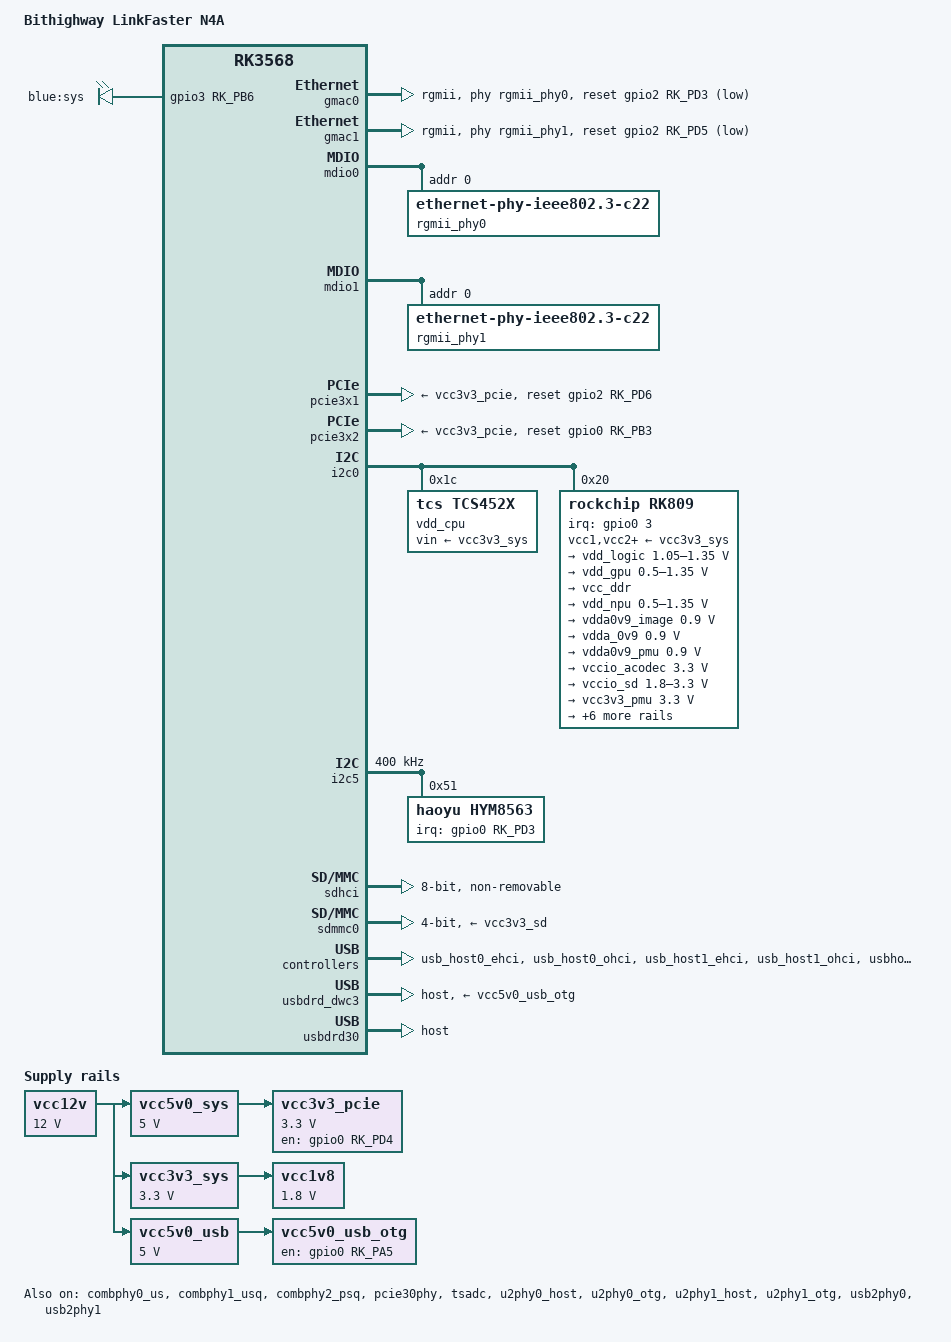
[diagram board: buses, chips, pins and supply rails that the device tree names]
// SPDX-License-Identifier: (GPL-2.0+ OR MIT)
/*
 * Copyright (c) 2023 Rockchip Electronics Co., Ltd.
 * Edit 20230723
 *
 */

/dts-v1/;

#include <dt-bindings/gpio/gpio.h>
#include <dt-bindings/input/input.h>
#include <dt-bindings/leds/common.h>
#include <dt-bindings/pinctrl/rockchip.h>
#include "rk3568.dtsi"

/ {

	model = "Bithighway LinkFaster N4A";
	compatible = "bithighway,linkfaster-n4a","rockchip,rk3568";

	mach: board {
	compatible = "rockchip,board";
	machine = "LINKFASTERN4A";
	hwrev = <1>;
	model = "LinkFaster N4A";
	nvmem-cells = <&otp_id>, <&otp_cpu_version>;
	nvmem-cell-names = "id", "cpu-version";
	};

	aliases {
		ethernet0 = &gmac0;
		ethernet1 = &gmac1;
		mmc0 = &sdhci;
		mmc1 = &sdmmc0;
		led-boot = &led_work;
		led-failsafe = &led_work;
		led-running = &led_work;
		led-upgrade = &led_work;
	};

	chosen: chosen {
		bootargs = "earlycon=uart8250,mmio32,0xfe660000 console=ttyFIQ0 root=PARTUUID=614e0000-0000 rw rootwait";
	};

	fiq-debugger {
		compatible = "rockchip,fiq-debugger";
		rockchip,serial-id = <2>;
		rockchip,wake-irq = <0>;
		/* If enable uart uses irq instead of fiq */
		rockchip,irq-mode-enable = <1>;
		rockchip,baudrate = <1500000>;  /* Only 115200 and 1500000 */
		interrupts = <GIC_SPI 252 IRQ_TYPE_LEVEL_LOW>;
		pinctrl-names = "default";
		pinctrl-0 = <&uart2m0_xfer>;
		status = "okay";
	};
	
	leds: leds {
		compatible = "gpio-leds";
		led_work: led-work {
			label = "blue:sys";
			gpios = <&gpio3 RK_PB6 GPIO_ACTIVE_HIGH>;
			linux,default-trigger = "heartbeat";
			default-state = "on";
			pinctrl-names = "default";
			pinctrl-0 = <&led_work_en>;
		};
	};

	vcc12v: vcc-12v {
		compatible = "regulator-fixed";
		regulator-name = "vcc12v";
		regulator-always-on;
		regulator-boot-on;
		regulator-min-microvolt = <12000000>;
		regulator-max-microvolt = <12000000>;
	};

	vcc5v0_sys: vcc5v0-sys {
		compatible = "regulator-fixed";
		regulator-name = "vcc5v0_sys";
		regulator-always-on;
		regulator-boot-on;
		regulator-min-microvolt = <5000000>;
		regulator-max-microvolt = <5000000>;
		vin-supply = <&vcc12v>;
	};

	vcc3v3_sys: vcc3v3-sys {
		compatible = "regulator-fixed";
		regulator-name = "vcc3v3_sys";
		regulator-always-on;
		regulator-boot-on;
		regulator-min-microvolt = <3300000>;
		regulator-max-microvolt = <3300000>;
		vin-supply = <&vcc12v>;
	};
	
	vcc1v8: vcc-1v8 {
		compatible = "regulator-fixed";
		regulator-name = "vcc1v8";
		regulator-always-on;
		regulator-boot-on;
		regulator-min-microvolt = <1800000>;
		regulator-max-microvolt = <1800000>;
		vin-supply = <&vcc3v3_sys>;
	};

	vcc3v3_pcie: gpio-regulator {
		compatible = "regulator-fixed";
		regulator-name = "vcc3v3_pcie";
		regulator-min-microvolt = <3300000>;
		regulator-max-microvolt = <3300000>;
		enable-active-high;
		gpio = <&gpio0 RK_PD4 GPIO_ACTIVE_HIGH>;
		startup-delay-us = <50000>;
		vin-supply = <&vcc5v0_sys>;
	};
	
	vcc5v0_usb: vcc5v0-usb {
		compatible = "regulator-fixed";
		regulator-name = "vcc5v0_usb";
		regulator-always-on;
		regulator-boot-on;
		regulator-min-microvolt = <5000000>;
		regulator-max-microvolt = <5000000>;
		vin-supply = <&vcc12v>;
	};
	
	vcc5v0_usb_otg: vcc5v0-usb-otg {
		compatible = "regulator-fixed";
		enable-active-high;
		gpio = <&gpio0 RK_PA5 GPIO_ACTIVE_HIGH>;
		vin-supply = <&vcc5v0_usb>;
		pinctrl-names = "default";
		pinctrl-0 = <&vcc5v0_usb_otg_en>;
		regulator-always-on;
		regulator-boot-on;
		regulator-name = "vcc5v0_usb_otg";
	};
};

&combphy0_us {
	status = "okay";
};

&combphy1_usq {
	status = "okay";
};

&combphy2_psq {
	status = "okay";
};

&cpu0 {
	cpu-supply = <&vdd_cpu>;
};

&cpu1 {
	cpu-supply = <&vdd_cpu>;
};

&cpu2 {
	cpu-supply = <&vdd_cpu>;
};

&cpu3 {
	cpu-supply = <&vdd_cpu>;
};

/* GMAC0: ethernet@fe010000 */
&gmac0 {
	phy-mode = "rgmii";
	clock_in_out = "input";

	snps,reset-gpio = <&gpio2 RK_PD3 GPIO_ACTIVE_LOW>;
	snps,reset-active-low;
	/* Reset time is 20ms, 100ms for rtl8211f */
	snps,reset-delays-us = <0 20000 100000>;

	assigned-clocks = <&cru SCLK_GMAC0_RX_TX>, <&cru SCLK_GMAC0>;
	assigned-clock-parents = <&cru SCLK_GMAC0_RGMII_SPEED>;
	assigned-clock-rates = <0>, <125000000>;

	pinctrl-names = "default";
	pinctrl-0 = <&gmac0_miim
		&gmac0_tx_bus2
		&gmac0_rx_bus2
		&gmac0_rgmii_clk
		&gmac0_rgmii_bus>;

	tx_delay = <0x4c>;
	rx_delay = <0x32>;
	phy-handle = <&rgmii_phy0>;
	status = "okay";
};

/* GMAC1: ethernet@fe2a0000 */
&gmac1 {
	phy-mode = "rgmii";
	clock_in_out = "input";

	snps,reset-gpio = <&gpio2 RK_PD5 GPIO_ACTIVE_LOW>;
	snps,reset-active-low;
	/* Reset time is 20ms, 100ms for rtl8211f */
	snps,reset-delays-us = <0 20000 100000>;

	assigned-clocks = <&cru SCLK_GMAC1_RX_TX>, <&cru SCLK_GMAC1>;
	assigned-clock-parents = <&cru SCLK_GMAC1_RGMII_SPEED>;
	assigned-clock-rates = <0>, <125000000>;


	pinctrl-names = "default";
	pinctrl-0 = <&gmac1m1_miim
	&gmac1m1_tx_bus2
	&gmac1m1_rx_bus2
	&gmac1m1_rgmii_clk
	&gmac1m1_rgmii_bus>;

	tx_delay = <0x40>;
	rx_delay = <0x38>;

	phy-handle = <&rgmii_phy1>;
	status = "okay";
};

&mdio0 {
	rgmii_phy0: phy@0 {
		compatible = "ethernet-phy-ieee802.3-c22";
		reg = <0x0>;
		clocks = <&cru CLK_MAC0_OUT>;
	};
};

&mdio1 {
	rgmii_phy1: phy@0 {
		compatible = "ethernet-phy-ieee802.3-c22";
		reg = <0x0>;
		clocks = <&cru CLK_MAC1_OUT>;
	};
};

&pcie30phy {
	status = "okay";
};

/* 2.5G NIC-1 pcie@fe270000 */
&pcie3x1 {
	rockchip,bifurcation;
	status = "okay";
	reset-gpios = <&gpio2 RK_PD6 GPIO_ACTIVE_HIGH>;
	vpcie3v3-supply = <&vcc3v3_pcie>;
};

/* 2.5G NIC-2 pcie@fe280000 */
&pcie3x2 {
	status = "okay";
	reset-gpios = <&gpio0 RK_PB3 GPIO_ACTIVE_HIGH>;
	rockchip,bifurcation;
	vpcie3v3-supply = <&vcc3v3_pcie>;
};

&i2c0 {
	status = "okay";

	vdd_cpu: tcs4525@1c {
		compatible = "tcs,tcs452x";
		reg = <0x1c>;
		vin-supply = <&vcc3v3_sys>;
		regulator-compatible = "fan53555-reg";
		regulator-name = "vdd_cpu";
		regulator-min-microvolt = <712500>;
		regulator-max-microvolt = <1390000>;
		regulator-init-microvolt = <900000>;
		regulator-ramp-delay = <2300>;
		fcs,suspend-voltage-selector = <1>;
		regulator-boot-on;
		regulator-always-on;
		regulator-state-mem {
			regulator-off-in-suspend;
		};
	};

	rk809: pmic@20 {
		compatible = "rockchip,rk809";
		reg = <0x20>;
		interrupt-parent = <&gpio0>;
		interrupts = <3 IRQ_TYPE_LEVEL_LOW>;

		pinctrl-names = "default", "pmic-sleep",
				"pmic-power-off", "pmic-reset";
		pinctrl-0 = <&pmic_int>;
		pinctrl-1 = <&soc_slppin_slp>, <&rk817_slppin_slp>;
		pinctrl-2 = <&soc_slppin_gpio>, <&rk817_slppin_pwrdn>;
		pinctrl-3 = <&soc_slppin_gpio>, <&rk817_slppin_rst>;
		
		rockchip,system-power-controller;
		wakeup-source;
		#clock-cells = <1>;
		clock-output-names = "rk808-clkout1", "rk808-clkout2";
		//fb-inner-reg-idxs = <2>;
		/* 1: rst regs (default in codes), 0: rst the pmic */
		pmic-reset-func = <0>;
		/* not save the PMIC_POWER_EN register in uboot */
		not-save-power-en = <1>;

		vcc1-supply = <&vcc3v3_sys>;
		vcc2-supply = <&vcc3v3_sys>;
		vcc3-supply = <&vcc3v3_sys>;
		vcc4-supply = <&vcc3v3_sys>;
		vcc5-supply = <&vcc3v3_sys>;
		vcc6-supply = <&vcc3v3_sys>;
		vcc7-supply = <&vcc3v3_sys>;
		vcc8-supply = <&vcc3v3_sys>;
		vcc9-supply = <&vcc3v3_sys>;

		pwrkey {
			status = "okay";
		};

		pinctrl_rk8xx: pinctrl_rk8xx {
			gpio-controller;
			#gpio-cells = <2>;

			rk817_slppin_null: rk817_slppin_null {
				pins = "gpio_slp";
				function = "pin_fun0";
			};

			rk817_slppin_slp: rk817_slppin_slp {
				pins = "gpio_slp";
				function = "pin_fun1";
			};

			rk817_slppin_pwrdn: rk817_slppin_pwrdn {
				pins = "gpio_slp";
				function = "pin_fun2";
			};

			rk817_slppin_rst: rk817_slppin_rst {
				pins = "gpio_slp";
				function = "pin_fun3";
			};
		};

		regulators {
			vdd_logic: DCDC_REG1 {
				regulator-always-on;
				regulator-boot-on;
				regulator-min-microvolt = <1050000>;
				regulator-max-microvolt = <1350000>;
				regulator-init-microvolt = <1050000>;
				regulator-ramp-delay = <6001>;
				regulator-initial-mode = <0x2>;
				regulator-name = "vdd_logic";
				regulator-state-mem {
					regulator-off-in-suspend;
				};
			};

			vdd_gpu: DCDC_REG2 {
				regulator-always-on;
				regulator-boot-on;
				regulator-min-microvolt = <500000>;
				regulator-max-microvolt = <1350000>;
				regulator-init-microvolt = <900000>;
				regulator-ramp-delay = <6001>;
				regulator-initial-mode = <0x2>;
				regulator-name = "vdd_gpu";
				regulator-state-mem {
					regulator-off-in-suspend;
				};
			};

			vcc_ddr: DCDC_REG3 {
				regulator-always-on;
				regulator-boot-on;
				regulator-initial-mode = <0x2>;
				regulator-name = "vcc_ddr";
				regulator-state-mem {
					regulator-on-in-suspend;
				};
			};

			vdd_npu: DCDC_REG4 {
				regulator-always-on;
				regulator-boot-on;
				regulator-min-microvolt = <500000>;
				regulator-max-microvolt = <1350000>;
				regulator-init-microvolt = <900000>;
				regulator-ramp-delay = <6001>;
				regulator-initial-mode = <0x2>;
				regulator-name = "vdd_npu";
				regulator-state-mem {
					regulator-off-in-suspend;
				};
			};

			vdda0v9_image: LDO_REG1 {
				regulator-boot-on;
				regulator-always-on;
				regulator-min-microvolt = <900000>;
				regulator-max-microvolt = <900000>;
				regulator-name = "vdda0v9_image";
				regulator-state-mem {
					regulator-off-in-suspend;
				};
			};

			vdda_0v9: LDO_REG2 {
				regulator-always-on;
				regulator-boot-on;
				regulator-min-microvolt = <900000>;
				regulator-max-microvolt = <900000>;
				regulator-name = "vdda_0v9";
				regulator-state-mem {
					regulator-off-in-suspend;
				};
			};

			vdda0v9_pmu: LDO_REG3 {
				regulator-always-on;
				regulator-boot-on;
				regulator-min-microvolt = <900000>;
				regulator-max-microvolt = <900000>;
				regulator-name = "vdda0v9_pmu";
				regulator-state-mem {
					regulator-on-in-suspend;
					regulator-suspend-microvolt = <900000>;
				};
			};

			vccio_acodec: LDO_REG4 {
				regulator-always-on;
				regulator-boot-on;
				regulator-min-microvolt = <3300000>;
				regulator-max-microvolt = <3300000>;
				regulator-name = "vccio_acodec";
				regulator-state-mem {
					regulator-off-in-suspend;
				};
			};

			vccio_sd: LDO_REG5 {
				regulator-always-on;
				regulator-boot-on;
				regulator-min-microvolt = <1800000>;
				regulator-max-microvolt = <3300000>;
				regulator-name = "vccio_sd";
				regulator-state-mem {
					regulator-off-in-suspend;
				};
			};

			vcc3v3_pmu: LDO_REG6 {
				regulator-always-on;
				regulator-boot-on;
				regulator-min-microvolt = <3300000>;
				regulator-max-microvolt = <3300000>;
				regulator-name = "vcc3v3_pmu";
				regulator-state-mem {
					regulator-on-in-suspend;
					regulator-suspend-microvolt = <3300000>;
				};
			};

			vcca_1v8: LDO_REG7 {
				regulator-always-on;
				regulator-boot-on;
				regulator-min-microvolt = <1800000>;
				regulator-max-microvolt = <1800000>;
				regulator-name = "vcca_1v8";
				regulator-state-mem {
					regulator-off-in-suspend;
				};
			};

			vcca1v8_pmu: LDO_REG8 {
				regulator-always-on;
				regulator-boot-on;
				regulator-min-microvolt = <1800000>;
				regulator-max-microvolt = <1800000>;
				regulator-name = "vcca1v8_pmu";
				regulator-state-mem {
					regulator-on-in-suspend;
					regulator-suspend-microvolt = <1800000>;
				};
			};

			vcca1v8_image: LDO_REG9 {
				regulator-always-on;
				regulator-boot-on;
				regulator-min-microvolt = <1800000>;
				regulator-max-microvolt = <1800000>;
				regulator-name = "vcca1v8_image";
				regulator-state-mem {
					regulator-off-in-suspend;
				};
			};

			vcc_1v8: DCDC_REG5 {
				regulator-always-on;
				regulator-boot-on;
				regulator-min-microvolt = <1800000>;
				regulator-max-microvolt = <1800000>;
				regulator-name = "vcc_1v8";
				regulator-state-mem {
					regulator-off-in-suspend;
				};
			};

			vcc_3v3: SWITCH_REG1 {
				regulator-always-on;
				regulator-boot-on;
				regulator-name = "vcc_3v3";
				regulator-state-mem {
					regulator-off-in-suspend;
				};
			};

			vcc3v3_sd: SWITCH_REG2 {
				regulator-always-on;
				regulator-boot-on;
				regulator-name = "vcc3v3_sd";
				regulator-state-mem {
					regulator-off-in-suspend;
				};
			};
		};

	};
};


&i2c5 {
	status = "okay";
	i2c-scl-rising-time-ns = <160>;
	i2c-scl-falling-time-ns = <30>;
	clock-frequency = <400000>;

	hym8563: hym8563@51 {
		compatible = "haoyu,hym8563";
		reg = <0x51>;
		pinctrl-names = "default";
		pinctrl-0 = <&rtc_int>;
		interrupt-parent = <&gpio0>;
		interrupts = <RK_PD3 IRQ_TYPE_LEVEL_LOW>;
		wakeup-source;
	};
};

&pmu_io_domains {
	pmuio1-supply = <&vcc3v3_pmu>;
	pmuio2-supply = <&vcc3v3_pmu>;
	vccio1-supply = <&vccio_acodec>;
	vccio3-supply = <&vccio_sd>;
	vccio4-supply = <&vcc_1v8>;
	vccio5-supply = <&vcc_3v3>;
	vccio6-supply = <&vcc_1v8>;
	vccio7-supply = <&vcc_3v3>;
	status = "okay";
};

&sdhci {
	bus-width = <8>;
	supports-emmc;
	non-removable;
	max-frequency = <200000000>;
	pinctrl-names = "default";
	pinctrl-0 = <&emmc_bus8 &emmc_clk &emmc_cmd &emmc_datastrobe>;
	status = "okay";
};

&sdmmc0 {
	max-frequency = <150000000>;
	no-sdio;
	no-mmc;
	bus-width = <4>;
	cap-mmc-highspeed;
	cap-sd-highspeed;
	disable-wp;
	sd-uhs-sdr104;
	vmmc-supply = <&vcc3v3_sd>;
	vqmmc-supply = <&vccio_sd>;
	pinctrl-names = "default";
	pinctrl-0 = <&sdmmc0_bus4 &sdmmc0_clk &sdmmc0_cmd &sdmmc0_det>;
	status = "okay";
};

&tsadc {
	rockchip,hw-tshut-mode = <1>;
	rockchip,hw-tshut-polarity = <0>;
	status = "okay";
};

&u2phy0_host {
	phy-supply = <&vcc5v0_usb_otg>;
	status = "okay";
};

&u2phy0_otg {
	phy-supply = <&vcc5v0_usb_otg>;
	status = "okay";
};

&u2phy1_host {
	phy-supply = <&vcc5v0_usb_otg>;
	status = "okay";
};

&u2phy1_otg {
	status = "okay";
};

&usb2phy0 {
	status = "okay";
};

&usb2phy1 {
	status = "okay";
};

&usb_host0_ehci {
	status = "okay";
};

&usb_host0_ohci {
	status = "okay";
};

&usb_host1_ehci {
	status = "okay";
};

&usb_host1_ohci {
	status = "okay";
};

&usbdrd_dwc3 {
	dr_mode = "host";
	vbus-supply = <&vcc5v0_usb_otg>;
	xtcon = <&usb2phy0>;
	status = "okay";
};

&usbdrd30 {
	dr_mode = "host";
	status = "okay";
};

&usbhost_dwc3 {
	status = "okay";
};

&usbhost30 {
	status = "okay";
};


&pinctrl {
	leds {
		led_work_en: led_work_en {
			rockchip,pins = <0 RK_PC0 RK_FUNC_GPIO &pcfg_pull_none>;
		};
	};

	usb {
		vcc5v0_usb_otg_en: vcc5v0_usb_otg_en {
			rockchip,pins = <0 RK_PA5 RK_FUNC_GPIO &pcfg_pull_none>;
		};
	};
	rtc {
		rtc_int: rtc-int {
			rockchip,pins =
			<0 RK_PD3 RK_FUNC_GPIO &pcfg_pull_up>;
			};
		};
	
	5g {
		net_5g_rst_gpio: net_5g_rst_gpio {
			rockchip,pins = <0 RK_PC5 RK_FUNC_GPIO &pcfg_pull_none>;			 
		};

		net_5g_disable: net_5g_dis_gpio {
			rockchip,pins = <0 RK_PC7 RK_FUNC_GPIO &pcfg_pull_none>;			 
		};

		net_5g_pwr_gpio: net_5g_pwr_gpio {
			rockchip,pins = <0 RK_PC1 RK_FUNC_GPIO &pcfg_pull_none>;			 
		};
	};

	pmic {
		pmic_int: pmic_int {
			rockchip,pins =
				<0 RK_PA3 RK_FUNC_GPIO &pcfg_pull_up>;
		};

		soc_slppin_gpio: soc_slppin_gpio {
			rockchip,pins =
				<0 RK_PA2 RK_FUNC_GPIO &pcfg_output_low_pull_down>;
		};

		soc_slppin_slp: soc_slppin_slp {
			rockchip,pins =
				<0 RK_PA2 1 &pcfg_pull_up>;
		};

		soc_slppin_rst: soc_slppin_rst {
			rockchip,pins =
				<0 RK_PA2 2 &pcfg_pull_none>;
		};
	};


};

